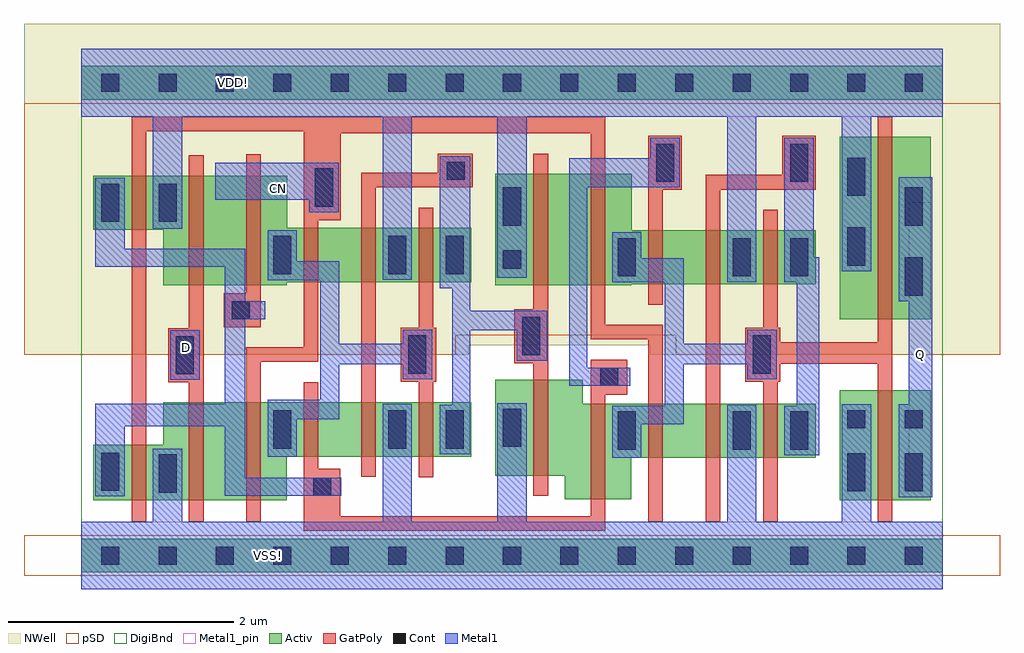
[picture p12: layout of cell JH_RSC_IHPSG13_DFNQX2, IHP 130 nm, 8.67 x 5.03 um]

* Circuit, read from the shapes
.subckt JH_RSC_IHPSG13_DFNQX2 CN D Q VDD! VSS!
XM1 VSS! CN n1 VSS! sg13_lv_nmos w=0.495u l=0.13u
XM2 n2 D VSS! VSS! sg13_lv_nmos w=0.87u l=0.13u
XM3 n3 CN n2 VSS! sg13_lv_nmos w=0.87u l=0.13u
XM4 n4 n1 n3 VSS! sg13_lv_nmos w=0.48u l=0.13u
XM5 VSS! n5 n4 VSS! sg13_lv_nmos w=0.48u l=0.13u
XM6 n5 n3 VSS! VSS! sg13_lv_nmos w=0.48u l=0.13u
XM7 n6 n5 VSS! VSS! sg13_lv_nmos w=0.85u l=0.13u
XM8 n7 n1 n6 VSS! sg13_lv_nmos w=0.85u l=0.13u
XM9 n8 CN n7 VSS! sg13_lv_nmos w=0.48u l=0.13u
XM10 VSS! n9 n8 VSS! sg13_lv_nmos w=0.48u l=0.13u
XM11 n9 n7 VSS! VSS! sg13_lv_nmos w=0.48u l=0.13u
XM12 Q n7 VSS! VSS! sg13_lv_nmos w=0.98u l=0.13u
XM13 VDD! CN n1 VDD! sg13_lv_pmos w=0.48u l=0.13u
XM14 n10 D VDD! VDD! sg13_lv_pmos w=0.975u l=0.13u
XM15 n3 n1 n10 VDD! sg13_lv_pmos w=0.975u l=0.13u
XM16 n11 CN n3 VDD! sg13_lv_pmos w=0.48u l=0.13u
XM17 VDD! n5 n11 VDD! sg13_lv_pmos w=0.48u l=0.13u
XM18 n5 n3 VDD! VDD! sg13_lv_pmos w=0.48u l=0.13u
XM19 n12 n5 VDD! VDD! sg13_lv_pmos w=0.99u l=0.13u
XM20 n7 CN n12 VDD! sg13_lv_pmos w=0.99u l=0.13u
XM21 n13 n1 n7 VDD! sg13_lv_pmos w=0.48u l=0.13u
XM22 VDD! n9 n13 VDD! sg13_lv_pmos w=0.48u l=0.13u
XM23 n9 n7 VDD! VDD! sg13_lv_pmos w=0.48u l=0.13u
XM24 Q n7 VDD! VDD! sg13_lv_pmos w=1.62u l=0.13u
.ends

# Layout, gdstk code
import gdstk
lib = gdstk.Library(unit=1e-6, precision=1e-09)
def R(c, l, rs):  # rectangles x0, y0, x1, y1
    for r in rs: c.add(gdstk.rectangle(r[:2], r[2:], *l))
def A(c, l, x, y, w, h, nx, ny, dx, dy):  # array of equal rectangles
    R(c, l, [(x+i*dx, y+j*dy, x+i*dx+w, y+j*dy+h) for i in range(nx) for j in range(ny)])
def P(c, l, *ps):  # polygons
    for p in ps: c.add(gdstk.Polygon(p, *l))
Activ = (1, 0)
GatPoly = (5, 0)
Cont = (6, 0)
Metal1 = (8, 0)
Metal1_pin = (8, 2)
pSD = (14, 0)
DigiBnd = (16, 0)
NWell = (31, 0)

jh_rsc_ihpsg13_dfnqx2 = lib.new_cell('JH_RSC_IHPSG13_DFNQX2')
R(jh_rsc_ihpsg13_dfnqx2, Activ, [(0,-0.15,4.59,0.15), (3.06,-0.15,7.65,0.15), (6.63,-0.15,7.65,0.15), (6.735,0.49,7.545,1.47), (6.735,2.1,7.545,3.72), (0,4.05,4.59,4.35), (3.06,4.05,7.65,4.35), (6.63,4.05,7.65,4.35)])
P(jh_rsc_ihpsg13_dfnqx2, Activ, [(0.725,2.4),(0.725,2.895),(0.105,2.895),(0.105,3.375),(1.83,3.375),(1.83,2.91),(3.465,2.91),(3.465,2.43),(1.825,2.43),(1.825,2.4)],
  [(0.105,0.49),(0.105,0.985),(0.725,0.985),(0.725,1.36),(3.465,1.36),(3.465,0.88),(1.825,0.88),(1.825,0.49)],
  [(4.295,0.5),(4.295,0.71),(3.675,0.71),(3.675,1.56),(4.455,1.56),(4.455,1.35),(6.525,1.35),(6.525,0.87),(4.885,0.87),(4.885,0.5)],
  [(3.675,2.4),(3.675,3.39),(4.89,3.39),(4.89,2.89),(6.525,2.89),(6.525,2.41),(4.885,2.41),(4.885,2.4)])
R(jh_rsc_ihpsg13_dfnqx2, GatPoly, [(5.035,3.25,5.335,3.73), (6.225,3.25,6.525,3.73)])
P(jh_rsc_ihpsg13_dfnqx2, GatPoly, [(0.955,0.3),(0.955,1.54),(0.77,1.54),(0.77,2.02),(0.955,2.02),(0.955,3.555),(1.085,3.555),(1.085,0.3)],
  [(2.485,0.7),(2.485,3.4),(3.165,3.4),(3.165,3.57),(3.475,3.57),(3.475,3.27),(2.615,3.27),(2.615,0.7)],
  [(2.995,0.695),(2.995,1.545),(2.835,1.545),(2.835,2.025),(2.995,2.025),(2.995,3.09),(3.125,3.09),(3.125,2.025),(3.15,2.025),(3.15,1.545),(3.125,1.545),(3.125,0.695)],
  [(1.975,0.22),(1.975,1.54),(2.105,1.54),(2.105,0.77),(2.3,0.77),(2.3,0.35),(4.655,0.35),(4.655,0.22)],
  [(0.445,0.3),(0.445,3.9),(4.655,3.9),(4.655,2.05),(5.165,2.05),(5.165,0.3),(5.035,0.3),(5.035,1.92),(4.525,1.92),(4.525,3.75),(2.305,3.75),(2.305,2.98),(2.105,2.98),(2.105,1.72),(1.595,1.72),(1.595,0.3),(1.465,0.3),(1.465,1.85),(1.975,1.85),(1.975,3.77),(0.575,3.77),(0.575,0.3)],
  [(4.525,0.3),(4.525,1.74),(4.85,1.74),(4.85,1.43),(4.655,1.43),(4.655,0.3)],
  [(4.015,0.53),(4.015,1.71),(3.845,1.71),(3.845,2.19),(4.015,2.19),(4.015,3.57),(4.145,3.57),(4.145,0.53)],
  [(5.035,2.23),(5.035,3.55),(5.335,3.55),(5.335,3.25),(5.165,3.25),(5.165,2.23)],
  [(5.545,0.3),(5.545,3.385),(6.225,3.385),(6.225,3.55),(6.525,3.55),(6.525,3.25),(5.675,3.25),(5.675,0.3)],
  [(1.265,2.03),(1.265,2.33),(1.465,2.33),(1.465,3.565),(1.595,3.565),(1.595,2.03)],
  [(6.055,0.3),(6.055,1.545),(5.895,1.545),(5.895,2.025),(6.055,2.025),(6.055,3.07),(6.185,3.07),(6.185,2.025),(6.21,2.025),(6.21,1.895),(7.075,1.895),(7.075,3.9),(7.205,3.9),(7.205,0.3),(7.075,0.3),(7.075,1.705),(6.21,1.705),(6.21,1.545),(6.185,1.545),(6.185,0.3)])
A(jh_rsc_ihpsg13_dfnqx2, Cont, 0.175, -0.08, 0.16, 0.16, 7, 2, 0.51, 4.2)
A(jh_rsc_ihpsg13_dfnqx2, Cont, 4.255, -0.08, 0.16, 0.16, 5, 2, 0.51, 4.2)
R(jh_rsc_ihpsg13_dfnqx2, Cont, [(3.235,-0.08,3.395,0.08), (3.745,-0.08,3.905,0.08), (3.745,-0.08,3.905,0.08), (3.745,-0.08,3.905,0.08), (4.255,-0.08,4.415,0.08), (6.295,-0.08,6.455,0.08), (6.805,-0.08,6.965,0.08), (6.805,-0.08,6.965,0.08), (6.805,-0.08,6.965,0.08), (6.805,-0.08,6.965,0.08), (7.315,-0.08,7.475,0.08), (7.315,-0.08,7.475,0.08), (7.315,-0.08,7.475,0.08), (2.06,0.53,2.22,0.69), (0.685,0.56,0.845,0.9), (6.805,0.57,6.965,0.91), (7.315,0.57,7.475,0.91), (0.175,0.575,0.335,0.915), (4.765,0.94,4.925,1.28), (5.785,0.94,5.945,1.28), (6.295,0.94,6.455,1.28), (1.705,0.95,1.865,1.29), (2.725,0.95,2.885,1.29), (3.235,0.95,3.395,1.29), (3.745,0.965,3.905,1.305), (6.805,1.13,6.965,1.29), (7.315,1.13,7.475,1.29), (4.61,1.51,4.77,1.67), (0.84,1.61,1,1.95), (2.905,1.615,3.065,1.955), (5.965,1.615,6.125,1.955), (3.915,1.78,4.075,2.12), (1.335,2.1,1.495,2.26), (7.315,2.31,7.475,2.65), (4.765,2.48,4.925,2.82), (5.785,2.48,5.945,2.82), (6.295,2.48,6.455,2.82), (1.705,2.5,1.865,2.84), (2.725,2.5,2.885,2.84), (3.235,2.5,3.395,2.84), (3.745,2.55,3.905,2.71), (6.805,2.575,6.965,2.915), (3.745,2.93,3.905,3.27), (7.315,2.93,7.475,3.27), (0.175,2.965,0.335,3.305), (0.685,2.965,0.845,3.305), (2.075,3.1,2.235,3.44), (6.805,3.195,6.965,3.535), (5.105,3.32,5.265,3.66), (5.105,3.32,5.265,3.48), (6.295,3.32,6.455,3.66), (6.295,3.32,6.455,3.48), (3.245,3.34,3.405,3.5), (3.235,4.12,3.395,4.28), (3.745,4.12,3.905,4.28), (3.745,4.12,3.905,4.28), (3.745,4.12,3.905,4.28), (4.255,4.12,4.415,4.28), (6.295,4.12,6.455,4.28), (6.805,4.12,6.965,4.28), (6.805,4.12,6.965,4.28), (6.805,4.12,6.965,4.28), (6.805,4.12,6.965,4.28), (7.315,4.12,7.475,4.28), (7.315,4.12,7.475,4.28), (7.315,4.12,7.475,4.28)])
R(jh_rsc_ihpsg13_dfnqx2, Metal1, [(0.79,1.56,1.05,2), (5.055,3.27,5.315,3.71), (6.245,3.27,6.505,3.71)])
P(jh_rsc_ihpsg13_dfnqx2, Metal1, [(0.125,0.525),(0.125,1.35),(1.275,1.35),(1.275,2.565),(0.125,2.565),(0.125,3.355),(0.385,3.355),(0.385,2.725),(1.455,2.725),(1.455,2.26),(1.635,2.26),(1.635,2.1),(1.455,2.1),(1.455,0.69),(2.31,0.69),(2.31,0.53),(1.275,0.53),(1.275,1.15),(0.385,1.15),(0.385,0.525)],
  [(5.735,2.43),(5.735,3.9),(3.955,3.9),(3.955,2.47),(3.695,2.47),(3.695,3.9),(2.935,3.9),(2.935,2.45),(2.675,2.45),(2.675,3.9),(0.895,3.9),(0.895,2.905),(0.635,2.905),(0.635,3.9),(0,3.9),(0,4.5),(7.65,4.5),(7.65,3.9),(7.015,3.9),(7.015,2.525),(6.755,2.525),(6.755,3.9),(5.995,3.9),(5.995,2.43)],
  [(0,-0.3),(0,0.3),(0.635,0.3),(0.635,0.95),(0.895,0.95),(0.895,0.3),(2.675,0.3),(2.675,1.35),(2.935,1.35),(2.935,0.3),(3.695,0.3),(3.695,1.355),(3.955,1.355),(3.955,0.3),(5.735,0.3),(5.735,1.34),(5.995,1.34),(5.995,0.3),(6.755,0.3),(6.755,1.345),(7.015,1.345),(7.015,0.3),(7.65,0.3),(7.65,-0.3)],
  [(1.655,0.88),(1.655,1.385),(2.12,1.385),(2.12,2.445),(1.655,2.445),(1.655,2.89),(1.915,2.89),(1.915,2.615),(2.29,2.615),(2.29,1.88),(2.855,1.88),(2.855,2.005),(3.115,2.005),(3.115,1.565),(2.855,1.565),(2.855,1.7),(2.29,1.7),(2.29,1.21),(1.915,1.21),(1.915,0.88)],
  [(7.26,0.52),(7.26,1.345),(7.35,1.345),(7.35,2.26),(7.26,2.26),(7.26,3.36),(7.56,3.36),(7.56,0.52)],
  [(2.025,3.05),(2.025,3.16),(1.19,3.16),(1.19,3.49),(2.285,3.49),(2.285,3.05)],
  [(3.185,0.9),(3.185,1.34),(3.295,1.34),(3.295,2.375),(3.185,2.375),(3.185,3.545),(3.455,3.545),(3.455,2.175),(4.14,2.175),(4.14,1.73),(3.865,1.73),(3.865,2),(3.455,2),(3.455,0.9)],
  [(4.335,1.51),(4.335,3.53),(5.315,3.53),(5.315,3.27),(4.495,3.27),(4.495,1.67),(4.875,1.67),(4.875,1.51)],
  [(4.715,0.87),(4.715,1.33),(5.18,1.33),(5.18,2.43),(4.715,2.43),(4.715,2.87),(4.975,2.87),(4.975,2.64),(5.35,2.64),(5.35,1.88),(5.915,1.88),(5.915,2.005),(6.175,2.005),(6.175,1.565),(5.915,1.565),(5.915,1.7),(5.35,1.7),(5.35,1.165),(4.975,1.165),(4.975,0.87)],
  [(6.245,0.89),(6.245,1.33),(6.355,1.33),(6.355,2.43),(6.245,2.43),(6.245,3.53),(6.505,3.53),(6.505,2.65),(6.555,2.65),(6.555,0.89)])
R(jh_rsc_ihpsg13_dfnqx2, Metal1_pin, [(0,-0.3,7.65,0.3), (7.35,0.715,7.56,3.14), (0.79,1.56,1.05,2), (1.19,3.16,2.285,3.49), (0,3.9,7.65,4.5)])
R(jh_rsc_ihpsg13_dfnqx2, pSD, [(-0.51,-0.18,8.16,0.18)])
P(jh_rsc_ihpsg13_dfnqx2, pSD, [(-0.51,1.785),(-0.51,4.02),(8.16,4.02),(8.16,1.785),(5.28,1.785),(5.28,1.955),(3.325,1.955),(3.325,1.785)])
R(jh_rsc_ihpsg13_dfnqx2, DigiBnd, [(0,-0.3,7.65,4.5)])
P(jh_rsc_ihpsg13_dfnqx2, NWell, [(-0.51,1.785),(-0.51,4.725),(8.16,4.725),(8.16,1.785),(5.05,1.785),(5.05,1.87),(3.44,1.87),(3.44,1.785)])
jh_rsc_ihpsg13_dfnqx2.add(gdstk.Label('VDD!', (1.35,4.2), layer=8, texttype=2))
jh_rsc_ihpsg13_dfnqx2.add(gdstk.Label('VSS!', (1.665,0.005), layer=8, texttype=2))
jh_rsc_ihpsg13_dfnqx2.add(gdstk.Label('D', (0.935,1.845), layer=8, texttype=2))
jh_rsc_ihpsg13_dfnqx2.add(gdstk.Label('Q', (7.45,1.79), layer=8, texttype=2))
jh_rsc_ihpsg13_dfnqx2.add(gdstk.Label('CN', (1.75,3.265), layer=8, texttype=2))

lib.write_gds('JH_RSC_IHPSG13_DFNQX2.gds')
